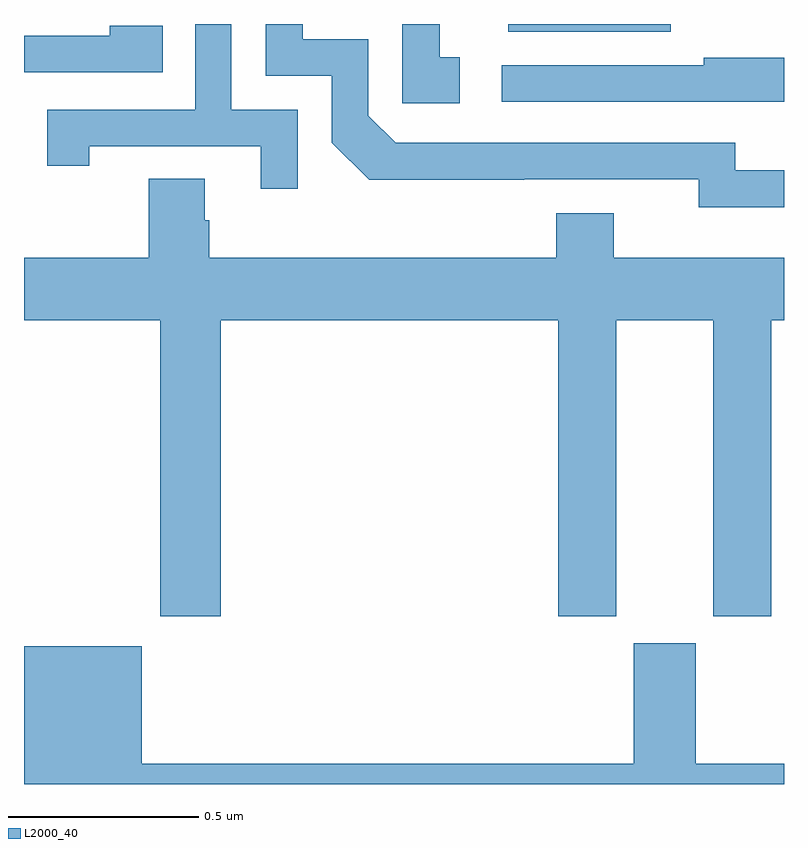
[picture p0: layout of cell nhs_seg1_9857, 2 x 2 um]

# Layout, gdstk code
import gdstk
lib = gdstk.Library(unit=1e-6, precision=1e-09)
def R(c, l, rs):  # rectangles x0, y0, x1, y1
    for r in rs: c.add(gdstk.rectangle(r[:2], r[2:], *l))
def P(c, l, *ps):  # polygons
    for p in ps: c.add(gdstk.Polygon(p, *l))
L2000_40 = (2000, 40)

nhs_seg1_9857 = lib.new_cell('nhs_seg1_9857')
R(nhs_seg1_9857, L2000_40, [(235.274,531.179,235.702,531.199)])
P(nhs_seg1_9857, L2000_40, [(235.147,531.111),(235.094,531.111),(235.094,531.199),(234.996,531.199),(234.996,530.991),(235.147,530.991)],
  [(236,530.814),(235.872,530.814),(235.872,530.886),(234.978,530.886),(234.906,530.958),(234.906,531.159),(234.733,531.159),(234.733,531.199),(234.636,531.199),(234.636,531.063),(234.81,531.063),(234.81,530.886),(234.908,530.789),(235.316,530.789),(235.316,530.79),(235.776,530.79),(235.776,530.717),(236,530.717)],
  [(234.72,530.973),(234.546,530.973),(234.546,531.199),(234.45,531.199),(234.45,530.973),(234.061,530.973),(234.061,530.826),(234.172,530.826),(234.172,530.877),(234.623,530.877),(234.623,530.766),(234.72,530.766)],
  [(234.365,531.195),(234.225,531.195),(234.225,531.168),(234,531.168),(234,531.072),(234.365,531.072)],
  [(236,531.11),(235.789,531.11),(235.789,531.09),(235.257,531.09),(235.257,530.994),(236,530.994)],
  [(234.518,530.42),(235.406,530.42),(235.406,529.641),(235.558,529.641),(235.558,530.42),(235.814,530.42),(235.814,529.641),(235.967,529.641),(235.967,530.42),(236,530.42),(236,530.584),(235.552,530.584),(235.552,530.701),(235.4,530.701),(235.4,530.584),(234.488,530.584),(234.488,530.682),(234.475,530.682),(234.475,530.792),(234.328,530.792),(234.328,530.584),(234,530.584),(234,530.42),(234.358,530.42),(234.358,529.641),(234.518,529.641)],
  [(236,529.252),(235.768,529.252),(235.768,529.569),(235.604,529.569),(235.604,529.252),(234.31,529.252),(234.31,529.561),(234,529.561),(234,529.199),(236,529.199)])

lib.write_gds('nhs_seg1_9857.gds')
